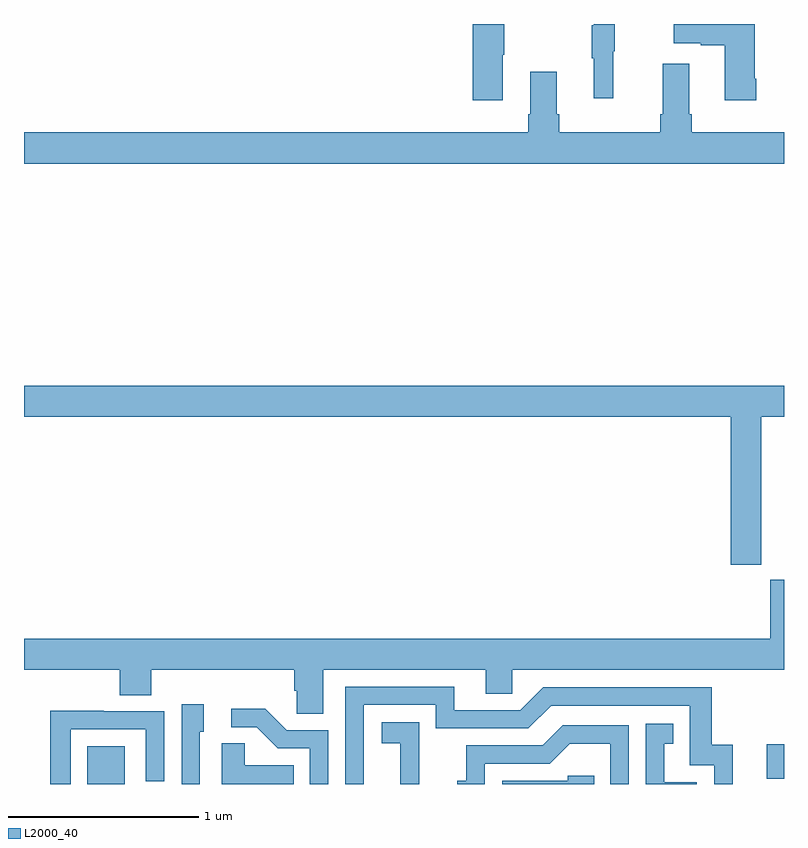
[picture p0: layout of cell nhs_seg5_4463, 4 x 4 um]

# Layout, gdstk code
import gdstk
lib = gdstk.Library(unit=1e-6, precision=1e-09)
def R(c, l, rs):  # rectangles x0, y0, x1, y1
    for r in rs: c.add(gdstk.rectangle(r[:2], r[2:], *l))
def P(c, l, *ps):  # polygons
    for p in ps: c.add(gdstk.Polygon(p, *l))
L2000_40 = (2000, 40)

nhs_seg5_4463 = lib.new_cell('nhs_seg5_4463')
R(nhs_seg5_4463, L2000_40, [(373.334,882.799,373.531,882.997), (376.91,882.827,377,883.009)])
P(nhs_seg5_4463, L2000_40, [(375.52,886.636),(375.528,886.636),(375.528,886.799),(375.362,886.799),(375.362,886.398),(375.52,886.398)],
  [(376.1,886.656),(376.108,886.656),(376.108,886.799),(375.998,886.799),(375.998,886.793),(375.987,886.793),(375.987,886.619),(375.998,886.619),(375.998,886.407),(376.1,886.407)],
  [(376.854,886.51),(376.846,886.51),(376.846,886.799),(376.419,886.799),(376.419,886.697),(376.562,886.697),(376.562,886.687),(376.688,886.687),(376.688,886.398),(376.854,886.398)],
  [(377,886.228),(376.514,886.228),(376.514,886.324),(376.501,886.324),(376.501,886.591),(376.361,886.591),(376.361,886.324),(376.349,886.324),(376.349,886.228),(375.818,886.228),(375.818,886.324),(375.805,886.324),(375.805,886.549),(375.665,886.549),(375.665,886.324),(375.653,886.324),(375.653,886.228),(373,886.228),(373,886.064),(377,886.064)],
  [(376.881,884.732),(377,884.732),(377,884.896),(373,884.896),(373,884.732),(376.721,884.732),(376.721,883.953),(376.881,883.953)],
  [(374.575,883.4),(375.431,883.4),(375.431,883.273),(375.57,883.273),(375.57,883.4),(377,883.4),(377,883.873),(376.928,883.873),(376.928,883.564),(373,883.564),(373,883.4),(373.505,883.4),(373.505,883.267),(373.67,883.267),(373.67,883.4),(374.423,883.4),(374.423,883.291),(374.436,883.291),(374.436,883.168),(374.575,883.168)],
  [(374.787,883.215),(375.168,883.215),(375.168,883.092),(375.654,883.092),(375.774,883.212),(376.503,883.212),(376.503,882.897),(376.632,882.897),(376.632,882.799),(376.73,882.799),(376.73,883.006),(376.619,883.006),(376.619,883.308),(375.732,883.308),(375.612,883.188),(375.265,883.188),(375.265,883.311),(374.691,883.311),(374.691,882.799),(374.787,882.799)],
  [(373.926,883.074),(373.945,883.074),(373.945,883.219),(373.83,883.219),(373.83,882.799),(373.926,882.799)],
  [(374.601,883.083),(374.382,883.083),(374.269,883.196),(374.091,883.196),(374.091,883.098),(374.225,883.098),(374.336,882.987),(374.505,882.987),(374.505,882.799),(374.601,882.799)],
  [(373.245,883.086),(373.641,883.086),(373.641,882.813),(373.737,882.813),(373.737,883.182),(373.421,883.182),(373.421,883.184),(373.137,883.184),(373.137,882.799),(373.245,882.799)],
  [(375.08,882.917),(375.081,882.917),(375.081,883.123),(374.883,883.123),(374.883,883.013),(374.981,883.013),(374.981,882.799),(375.08,882.799)],
  [(376.542,882.807),(376.369,882.807),(376.369,883.011),(376.418,883.011),(376.418,883.117),(376.272,883.117),(376.272,882.799),(376.542,882.799)],
  [(375.426,882.906),(375.768,882.906),(375.872,883.01),(376.086,883.01),(376.086,882.799),(376.182,882.799),(376.182,883.107),(375.836,883.107),(375.731,883.002),(375.328,883.002),(375.328,882.817),(375.279,882.817),(375.279,882.799),(375.426,882.799)],
  [(374.42,882.898),(374.163,882.898),(374.163,883.013),(374.042,883.013),(374.042,882.799),(374.42,882.799)],
  [(376.001,882.843),(375.861,882.843),(375.861,882.816),(375.516,882.816),(375.516,882.799),(376.001,882.799)])

lib.write_gds('nhs_seg5_4463.gds')
